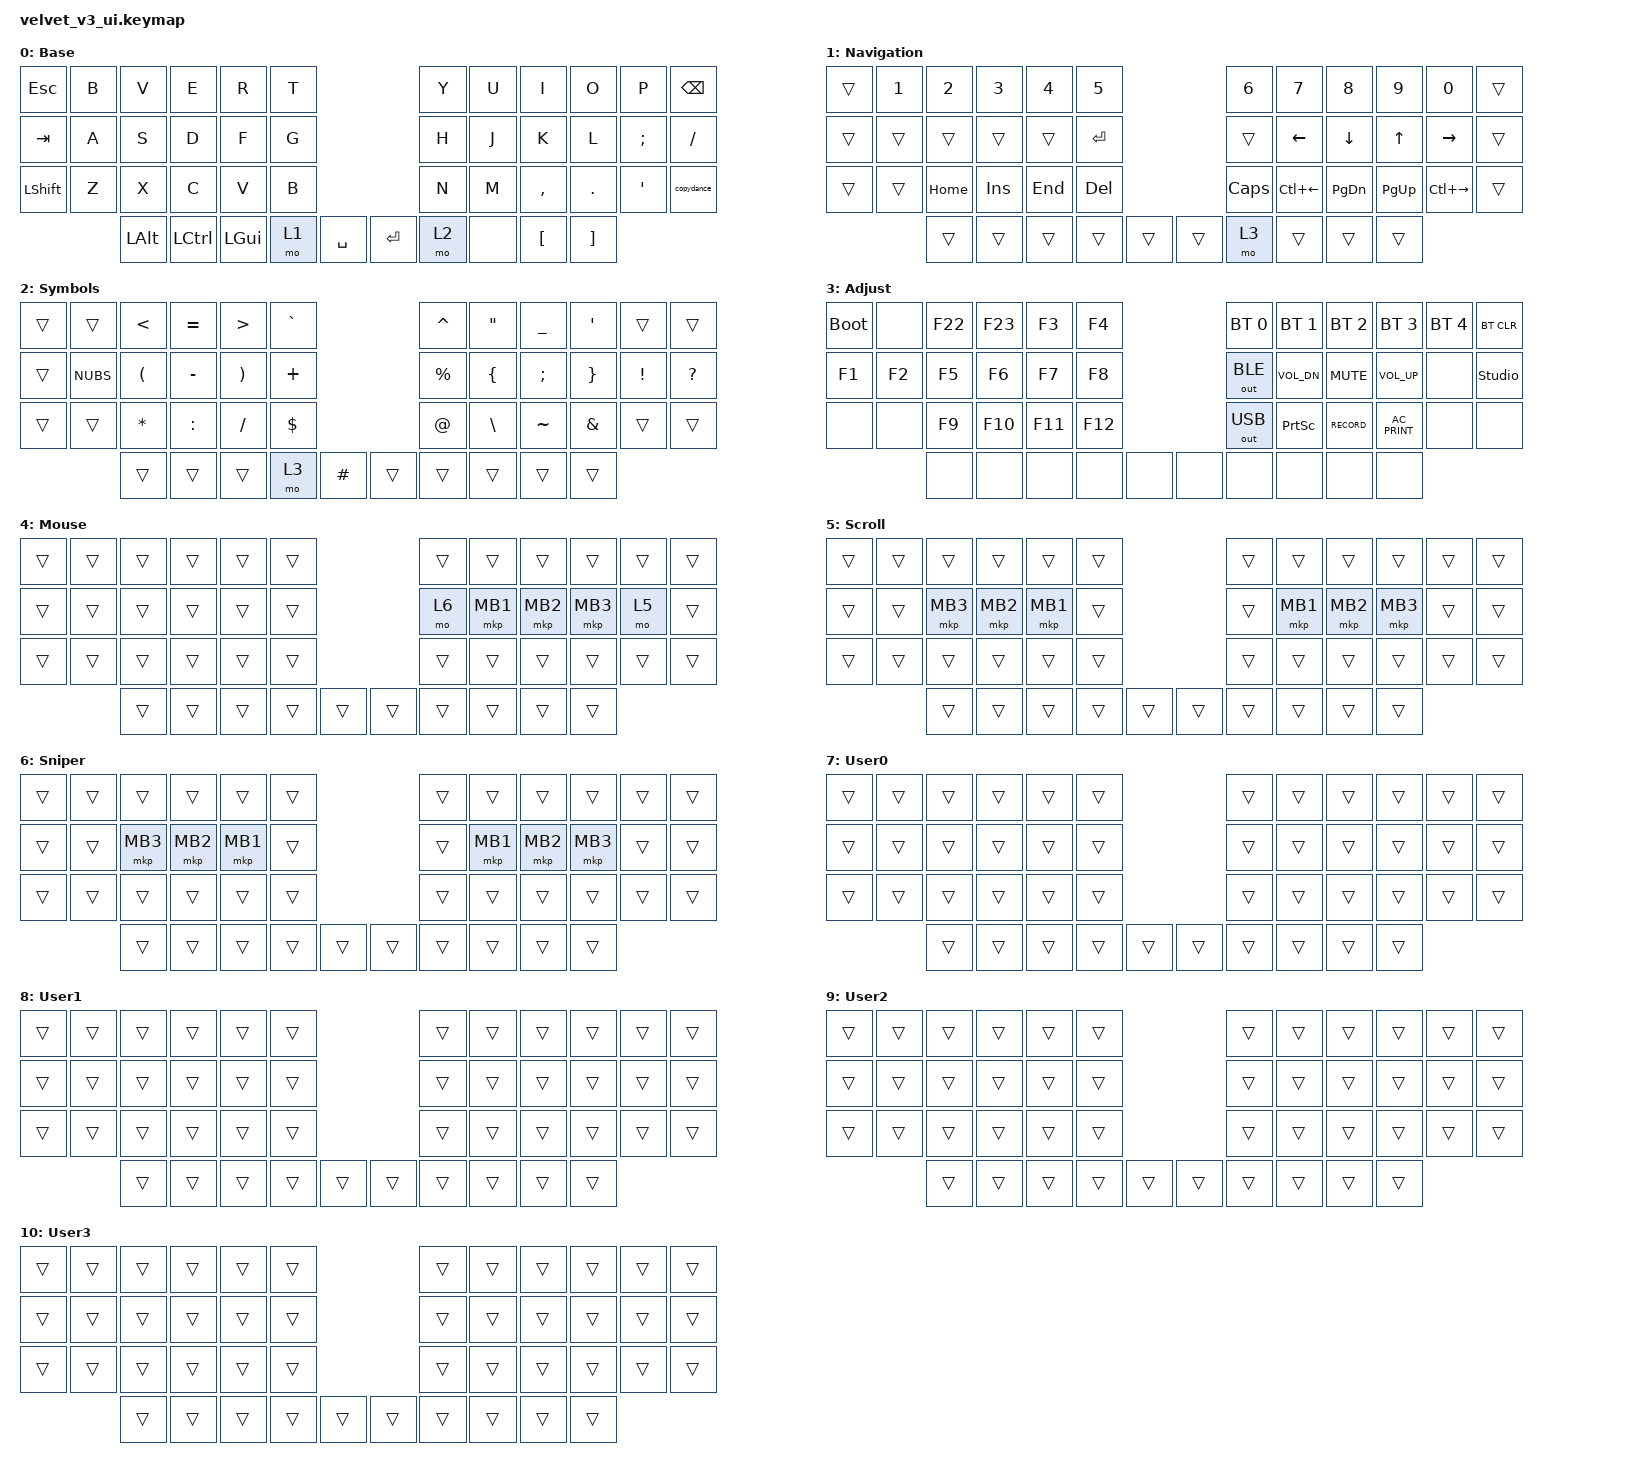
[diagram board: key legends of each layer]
#include "keys_ru.h"
#include <dt-bindings/zmk/input_transform.h>
#include <input/processors.dtsi>
#include <zephyr/dt-bindings/input/input-event-codes.h>
#include <behaviors.dtsi>
#include <dt-bindings/zmk/bt.h>
#include <dt-bindings/zmk/keys.h>
#include <dt-bindings/zmk/outputs.h>
#include <dt-bindings/zmk/pointing.h>

/ {
    behaviors {
        cap_sen: cap_sen {
            compatible = "zmk,behavior-hold-tap";
            label = "CAP_SEN";
            bindings = <&mo>, <&mkp>;

            #binding-cells = <2>;
            tapping-term-ms = <150>;
            hold-while-undecided;
        };

        mouse_layer: mouse_layer {
            compatible = "zmk,behavior-sticky-key";
            label = "MOUSE_LAYER";
            bindings = <&mo>;
            #binding-cells = <1>;
            release-after-ms = <200>;
        };

        copydance: copydance {
            compatible = "zmk,behavior-tap-dance";
            label = "COPYDANCE";
            #binding-cells = <0>;
            bindings = <&copynos>, <&pastenos>;

            tapping-term-ms = <200>;
        };

        zip_auto_mouse: zip_auto_mouse {
            compatible = "zmk,input-processor-temp-layer";
            #input-processor-cells = <2>;
            require-prior-idle-ms = <800>;
            excluded-positions = <>;
        };
    };

    macros {
        copynos: new_macro {
            compatible = "zmk,behavior-macro";
            #binding-cells = <0>;
            bindings =
                <&macro_press>,
                <&kp LCTRL>,
                <&macro_tap>,
                <&kp C>,
                <&macro_release>,
                <&kp LCTRL>;

            label = "NEW_MACRO";
        };

        pastenos: paste {
            compatible = "zmk,behavior-macro";
            #binding-cells = <0>;
            bindings =
                <&macro_press>,
                <&kp LCTRL>,
                <&macro_tap>,
                <&kp V>,
                <&macro_release>,
                <&kp LCTRL>;

            label = "PASTE";
        };
    };

    keymap {
        compatible = "zmk,keymap";

        base {
            bindings = <
&kp ESC    &kp B  &kp V     &kp E             &kp R         &kp T                        &kp Y  &kp U  &kp I      &kp O     &kp P     &kp BSPC
&kp TAB    &kp A  &kp S     &kp D             &kp F         &kp G                        &kp H  &kp J  &kp K      &kp L     &kp SEMI  &kp SLASH
&kp LSHFT  &kp Z  &kp X     &kp C             &kp V         &kp B                        &kp N  &kp M  &kp COMMA  &kp DOT   &kp SQT   &copydance
                  &kp LALT  &kp LEFT_CONTROL  &kp LEFT_GUI  &mo 1  &kp SPACE    &kp RET  &mo 2  &none  &kp LBKT   &kp RBKT
            >;

            display-name = "Base";
        };

        nav {
            bindings = <
&trans  &kp N1  &kp N2    &kp N3   &kp N4   &kp N5                     &kp N6    &kp N7        &kp N8         &kp N9       &kp N0         &trans
&trans  &trans  &trans    &trans   &trans   &kp RET                    &trans    &kp LEFT      &kp DOWN       &kp UP       &kp RIGHT      &trans
&trans  &trans  &kp HOME  &kp INS  &kp END  &kp DEL                    &kp CLCK  &kp LC(LEFT)  &kp PAGE_DOWN  &kp PAGE_UP  &kp LC(RIGHT)  &trans
                &trans    &trans   &trans   &trans   &trans    &trans  &mo 3     &trans        &trans         &trans
            >;

            display-name = "Navigation";
        };

        sym {
            bindings = <
&trans  &trans    &kp LT    &kp EQUAL  &kp GT    &kp GRAVE                      &kp CARET  &kp DQT        &kp UNDER  &kp SQT   &trans    &trans
&trans  &kp NUBS  &kp LPAR  &kp MINUS  &kp RPAR  &kp PLUS                       &kp PRCNT  &kp LBRC       &kp SEMI   &kp RBRC  &kp EXCL  &kp QUESTION
&trans  &trans    &kp STAR  &kp COLON  &kp FSLH  &kp DLLR                       &kp AT     &kp BACKSLASH  &kp TILDE  &kp AMPS  &trans    &trans
                  &trans    &trans     &trans    &mo 3      &kp HASH    &trans  &trans     &trans         &trans     &trans
            >;

            display-name = "Symbols";
        };

        adj {
            bindings = <
&bootloader  &none   &kp F22  &kp F23  &kp F3   &kp F4                   &bt BT_SEL 0  &bt BT_SEL 1     &bt BT_SEL 2  &bt BT_SEL 3    &bt BT_SEL 4  &bt BT_CLR
&kp F1       &kp F2  &kp F5   &kp F6   &kp F7   &kp F8                   &out OUT_BLE  &kp C_VOL_DN     &kp K_MUTE    &kp C_VOL_UP    &none         &studio_unlock
&none        &none   &kp F9   &kp F10  &kp F11  &kp F12                  &out OUT_USB  &kp PRINTSCREEN  &kp C_RECORD  &kp C_AC_PRINT  &none         &none
                     &none    &none    &none    &none    &none    &none  &none         &none            &none         &none
            >;

            display-name = "Adjust";
        };

        mouse {
            bindings = <
&trans  &trans  &trans  &trans  &trans  &trans                    &trans  &trans    &trans    &trans    &trans  &trans
&trans  &trans  &trans  &trans  &trans  &trans                    &mo 6   &mkp MB1  &mkp MB2  &mkp MB3  &mo 5   &trans
&trans  &trans  &trans  &trans  &trans  &trans                    &trans  &trans    &trans    &trans    &trans  &trans
                &trans  &trans  &trans  &trans  &trans    &trans  &trans  &trans    &trans    &trans
            >;

            display-name = "Mouse";
        };

        scroll {
            bindings = <
&trans  &trans  &trans    &trans    &trans    &trans                    &trans  &trans    &trans    &trans    &trans  &trans
&trans  &trans  &mkp MB3  &mkp MB2  &mkp MB1  &trans                    &trans  &mkp MB1  &mkp MB2  &mkp MB3  &trans  &trans
&trans  &trans  &trans    &trans    &trans    &trans                    &trans  &trans    &trans    &trans    &trans  &trans
                &trans    &trans    &trans    &trans  &trans    &trans  &trans  &trans    &trans    &trans
            >;

            display-name = "Scroll";
        };

        sniper {
            bindings = <
&trans  &trans  &trans    &trans    &trans    &trans                    &trans  &trans    &trans    &trans    &trans  &trans
&trans  &trans  &mkp MB3  &mkp MB2  &mkp MB1  &trans                    &trans  &mkp MB1  &mkp MB2  &mkp MB3  &trans  &trans
&trans  &trans  &trans    &trans    &trans    &trans                    &trans  &trans    &trans    &trans    &trans  &trans
                &trans    &trans    &trans    &trans  &trans    &trans  &trans  &trans    &trans    &trans
            >;

            display-name = "Sniper";
        };

        User0 {
            bindings = <
&trans  &trans  &trans  &trans  &trans  &trans                    &trans  &trans  &trans  &trans  &trans  &trans
&trans  &trans  &trans  &trans  &trans  &trans                    &trans  &trans  &trans  &trans  &trans  &trans
&trans  &trans  &trans  &trans  &trans  &trans                    &trans  &trans  &trans  &trans  &trans  &trans
                &trans  &trans  &trans  &trans  &trans    &trans  &trans  &trans  &trans  &trans
            >;

            display-name = "User0";
        };

        User1 {
            bindings = <
&trans  &trans  &trans  &trans  &trans  &trans                    &trans  &trans  &trans  &trans  &trans  &trans
&trans  &trans  &trans  &trans  &trans  &trans                    &trans  &trans  &trans  &trans  &trans  &trans
&trans  &trans  &trans  &trans  &trans  &trans                    &trans  &trans  &trans  &trans  &trans  &trans
                &trans  &trans  &trans  &trans  &trans    &trans  &trans  &trans  &trans  &trans
            >;

            display-name = "User1";
        };

        User2 {
            bindings = <
&trans  &trans  &trans  &trans  &trans  &trans                    &trans  &trans  &trans  &trans  &trans  &trans
&trans  &trans  &trans  &trans  &trans  &trans                    &trans  &trans  &trans  &trans  &trans  &trans
&trans  &trans  &trans  &trans  &trans  &trans                    &trans  &trans  &trans  &trans  &trans  &trans
                &trans  &trans  &trans  &trans  &trans    &trans  &trans  &trans  &trans  &trans
            >;

            display-name = "User2";
        };

        User3 {
            bindings = <
&trans  &trans  &trans  &trans  &trans  &trans                    &trans  &trans  &trans  &trans  &trans  &trans
&trans  &trans  &trans  &trans  &trans  &trans                    &trans  &trans  &trans  &trans  &trans  &trans
&trans  &trans  &trans  &trans  &trans  &trans                    &trans  &trans  &trans  &trans  &trans  &trans
                &trans  &trans  &trans  &trans  &trans    &trans  &trans  &trans  &trans  &trans
            >;

            display-name = "User3";
        };
    };
};

&trackball { cpi = <1000>; };

&trackball_listener {
    input-processors = <&zip_auto_mouse 4 500>, <&zip_xy_scaler 9 20>;

    scroller {
        layers = <5>;
        input-processors =
            <&zip_xy_transform INPUT_TRANSFORM_Y_INVERT>,
            <&zip_xy_scaler 1 32>,
            <&zip_xy_to_scroll_mapper>;
    };

    sniper {
        layers = <6>;
        input-processors = <&zip_xy_scaler 1 4>;
    };
};
